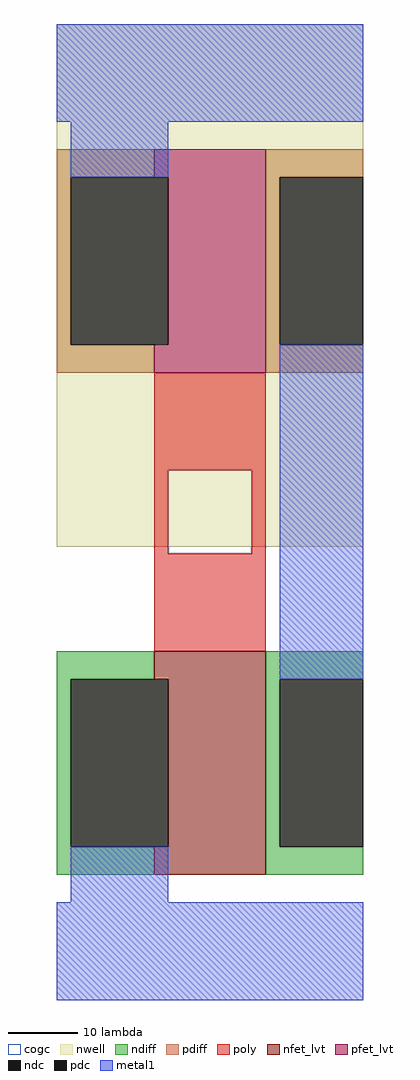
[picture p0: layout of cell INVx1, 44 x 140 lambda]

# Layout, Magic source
magic
tech asap5
<< nwell >>
rect 0 65 44 140
<< poly >>
rect 14 76 30 90
rect 14 64 16 76
rect 28 64 30 76
rect 14 50 30 64
<< ndiff >>
rect 0 46 14 50
rect 30 46 44 50
rect 0 22 2 46
rect 30 22 32 46
rect 0 18 14 22
rect 30 18 44 22
<< pdiff >>
rect 0 118 14 122
rect 30 118 44 122
rect 0 94 2 118
rect 30 94 32 118
rect 0 90 14 94
rect 30 90 44 94
<< nfet_lvt >>
rect 14 46 30 50
rect 16 22 30 46
rect 14 18 30 22
<< pfet_lvt >>
rect 14 118 30 122
rect 16 94 30 118
rect 14 90 30 94
<< metal1 >>
rect 0 126 44 140
rect 2 118 16 126
rect 32 46 44 94
rect 2 14 16 22
rect 0 0 44 14
<< cogc >>
rect 16 64 28 76
<< ndc >>
rect 2 22 16 46
rect 32 22 44 46
<< pdc >>
rect 2 94 16 118
rect 32 94 44 118
<< end >>
